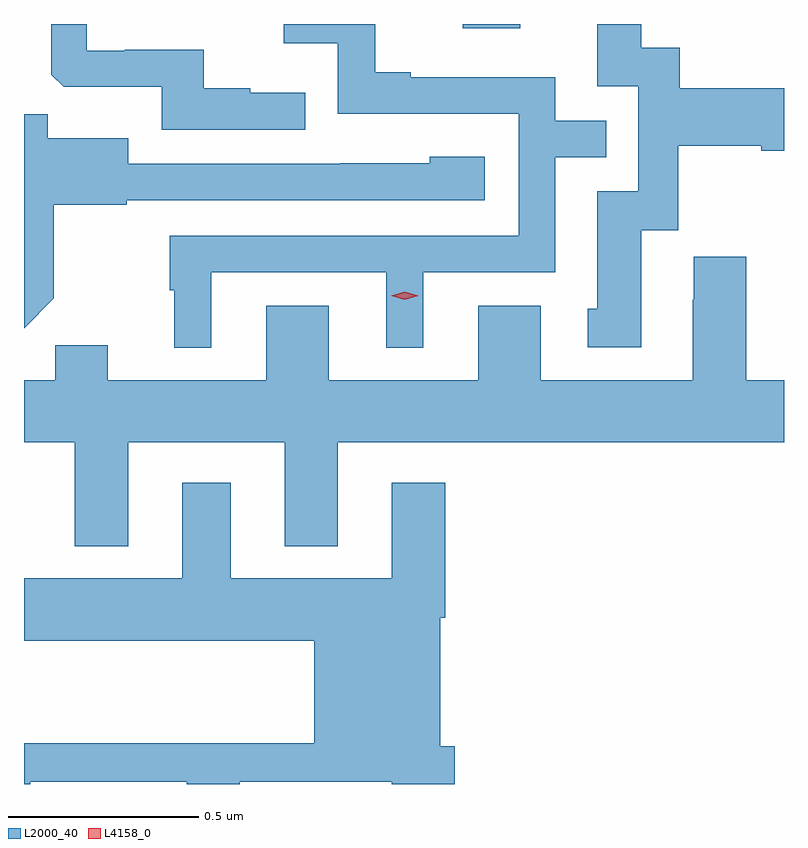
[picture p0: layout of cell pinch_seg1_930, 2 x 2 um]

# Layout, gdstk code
import gdstk
lib = gdstk.Library(unit=1e-6, precision=1e-09)
def R(c, l, rs):  # rectangles x0, y0, x1, y1
    for r in rs: c.add(gdstk.rectangle(r[:2], r[2:], *l))
def P(c, l, *ps):  # polygons
    for p in ps: c.add(gdstk.Polygon(p, *l))
L2000_40 = (2000, 40)
L4158_0 = (4158, 0)

pinch_seg1_930 = lib.new_cell('pinch_seg1_930')
R(pinch_seg1_930, L2000_40, [(530.693,539.502,530.845,539.513)])
P(pinch_seg1_930, L2000_40, [(530.032,538.86),(530.492,538.86),(530.492,538.661),(530.59,538.661),(530.59,538.86),(530.937,538.86),(530.937,539.163),(531.071,539.163),(531.071,539.259),(530.937,539.259),(530.937,539.373),(530.557,539.373),(530.557,539.386),(530.463,539.386),(530.463,539.513),(530.223,539.513),(530.223,539.462),(530.364,539.462),(530.364,539.277),(530.841,539.277),(530.841,538.956),(529.923,538.956),(529.923,538.812),(529.934,538.812),(529.934,538.661),(530.032,538.661)],
  [(530.279,539.332),(530.135,539.332),(530.135,539.344),(530.012,539.344),(530.012,539.445),(529.804,539.445),(529.804,539.442),(529.704,539.442),(529.704,539.513),(529.611,539.513),(529.611,539.379),(529.643,539.348),(529.902,539.348),(529.902,539.235),(530.279,539.235)],
  [(531.163,538.97),(531.261,538.97),(531.261,539.192),(531.479,539.192),(531.479,539.18),(531.539,539.18),(531.539,539.344),(531.265,539.344),(531.265,539.45),(531.163,539.45),(531.163,539.513),(531.047,539.513),(531.047,539.349),(531.156,539.349),(531.156,539.073),(531.047,539.073),(531.047,538.764),(531.023,538.764),(531.023,538.662),(531.163,538.662)],
  [(529.617,538.791),(529.617,539.037),(529.809,539.037),(529.809,539.049),(530.752,539.049),(530.752,539.164),(530.607,539.164),(530.607,539.146),(530.371,539.146),(530.371,539.145),(529.813,539.145),(529.813,539.212),(529.602,539.212),(529.602,539.276),(529.539,539.276),(529.539,538.713)],
  [(529.813,538.412),(530.225,538.412),(530.225,538.139),(530.365,538.139),(530.365,538.412),(531.539,538.412),(531.539,538.576),(531.439,538.576),(531.439,538.9),(531.302,538.9),(531.302,538.787),(531.299,538.787),(531.299,538.576),(530.899,538.576),(530.899,538.771),(530.735,538.771),(530.735,538.576),(530.341,538.576),(530.341,538.771),(530.177,538.771),(530.177,538.576),(529.759,538.576),(529.759,538.667),(529.621,538.667),(529.621,538.576),(529.539,538.576),(529.539,538.412),(529.673,538.412),(529.673,538.139),(529.813,538.139)],
  [(529.555,537.519),(529.967,537.519),(529.967,537.513),(530.107,537.513),(530.107,537.519),(530.507,537.519),(530.507,537.513),(530.672,537.513),(530.672,537.612),(530.635,537.612),(530.635,537.95),(530.648,537.95),(530.648,538.306),(530.507,538.306),(530.507,538.054),(530.083,538.054),(530.083,538.306),(529.955,538.306),(529.955,538.054),(529.539,538.054),(529.539,537.89),(530.303,537.89),(530.303,537.62),(529.539,537.62),(529.539,537.513),(529.555,537.513)])
P(pinch_seg1_930, L4158_0, [(530.541,538.788),(530.505,538.798),(530.505,538.798),(530.505,538.798),(530.541,538.808),(530.577,538.798),(530.577,538.798),(530.577,538.798)])

lib.write_gds('pinch_seg1_930.gds')
